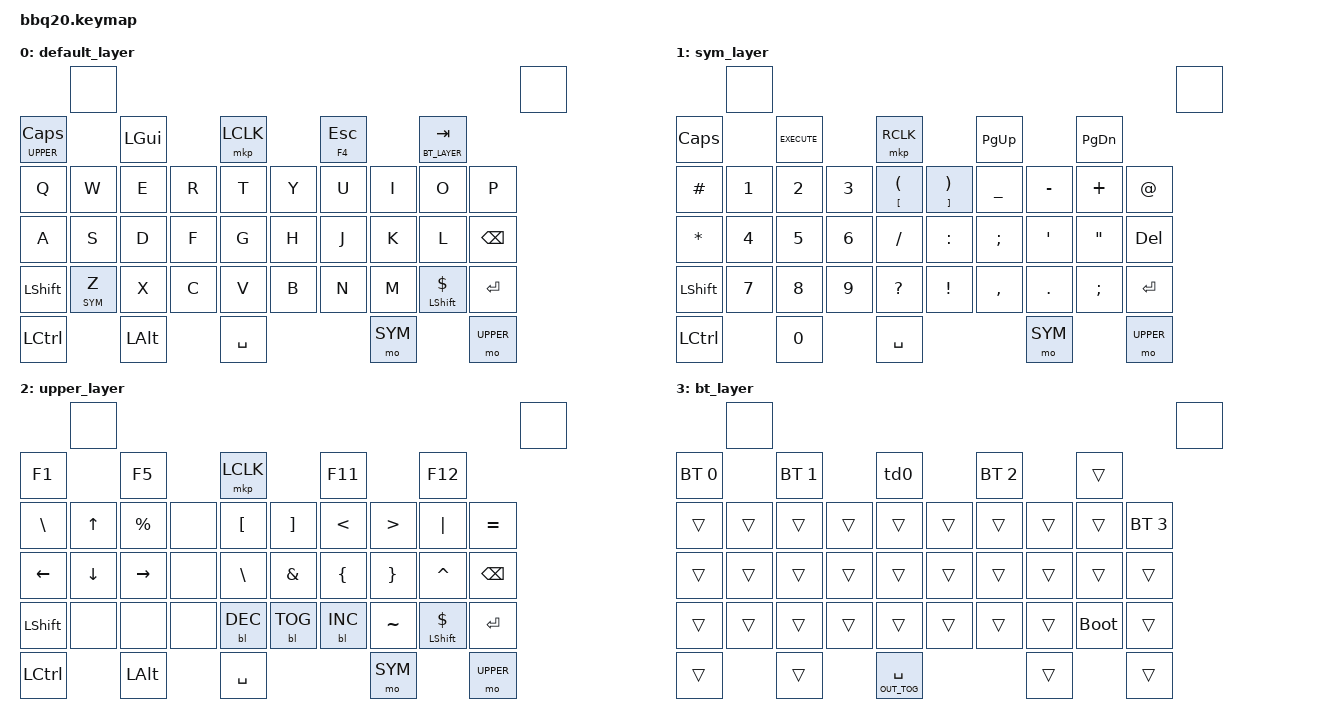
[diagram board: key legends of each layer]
/*
 * ═══════════════════════════════════════════════════════════════════
 *  LEGEND
 * ═══════════════════════════════════════════════════════════════════
 *
 *  COMMENT NOTATION
 *  ─────────────────────────────────────────────────────────────────
 *  tap=X / hold=Y   Dual-function key: quick tap sends X,
 *                   holding past tapping-term sends Y
 *  dbl=X            Double-tap action (tap dance)
 *  (def)            Transparent — falls through to default layer
 *  ---              Unused / no action (&none)
 *  ←                Backspace
 *  SHF              Left Shift
 *
 *  LAYERS
 *  ─────────────────────────────────────────────────────────────────
 *  0  DEFAULT    Base QWERTY layer
 *  1  SYM        Symbols & numbers — hold SYM key or hold Z
 *  2  UPPER      Navigation & brackets — hold UPPER key or hold Call
 *  3  BT_LAYER   Bluetooth controls — hold EndCall
 *
 *  BEHAVIORS
 *  ─────────────────────────────────────────────────────────────────
 *  &lt  L  KEY   Layer-tap: tap=KEY, hold=momentary layer L
 *                (200ms tapping-term, tap-preferred)
 *  &mt  MOD KEY  Mod-tap: tap=KEY, hold=MOD
 *                (200ms tapping-term, hold-preferred)
 *  &mo  L        Momentary layer L while held
 *  back_ht       Custom hold-tap for Back key: tap=ESC, hold=F4
 *                (400ms tapping-term, tap-preferred — matches Vial TD1)
 *  lt_125        Custom layer-tap for Z key: tap=Z, hold=SYM layer
 *                (125ms tapping-term, hold-preferred — matches Vial TD4)
 *  mt_125        Custom mod-tap for $ key: tap=$, hold=LSHIFT
 *                (125ms tapping-term, hold-preferred — matches Vial TD3)
 *  td0           Tap dance on trackpad: tap=left click, dbl=BT clear
 *  out_tap       Hold-tap on space: tap=SPACE, hold=toggle USB/BLE
 * ═══════════════════════════════════════════════════════════════════
 */

#include <behaviors.dtsi>
#include <dt-bindings/zmk/keys.h>
#include <dt-bindings/zmk/bt.h>
#include <dt-bindings/zmk/outputs.h>
#include <dt-bindings/zmk/mouse.h>
#include <dt-bindings/zmk/backlight.h>

#define SYM      1
#define UPPER    2
#define BT_LAYER 3

/ {
    behaviors {
        // Trackpad: single tap = left click, double tap = clear BT pairing
        td0: tap_dance_0 {
            compatible = "zmk,behavior-tap-dance";
            #binding-cells = <0>;
            tapping-term-ms = <400>;
            bindings = <&mkp LCLK>, <&bt BT_CLR>;
        };
        // Back key: tap = ESC, hold = F4.
        // tap-preferred + 400ms matches Vial TD1 — prevents accidental F4
        // when ESC is pressed quickly or while other keys are held.
        back_ht: back_hold_tap {
            compatible = "zmk,behavior-hold-tap";
            #binding-cells = <2>;
            tapping-term-ms = <400>;
            flavor = "tap-preferred";
            bindings = <&kp>, <&kp>;
        };
        // Z key: tap = Z, hold = SYM layer. 125ms matches Vial TD4.
        lt_125: layer_tap_125 {
            compatible = "zmk,behavior-hold-tap";
            #binding-cells = <2>;
            tapping-term-ms = <125>;
            flavor = "hold-preferred";
            bindings = <&mo>, <&kp>;
        };
        // $ key: tap = $, hold = LSHIFT. 125ms matches Vial TD3.
        mt_125: mod_tap_125 {
            compatible = "zmk,behavior-hold-tap";
            #binding-cells = <2>;
            tapping-term-ms = <125>;
            flavor = "hold-preferred";
            bindings = <&kp>, <&kp>;
        };
        // Space key in BT layer: tap = SPACE, hold = toggle USB/BLE output
        out_tap: out_tap {
            compatible = "zmk,behavior-hold-tap";
            #binding-cells = <2>;
            tapping-term-ms = <500>;
            bindings = <&out &kp>;
        };
    };

    keymap {
        compatible = "zmk,keymap";

        default_layer {
            bindings = <
// ┌─────────────┐                                                                       ┌─────────────┐
//   Shoulder L                                                                             Shoulder R
//    (unused)                                                                              (unused)
// └─────────────┘                                                                       └─────────────┘
// ┌────────────────┐  ┌──────────┐  ┌──────────┐  ┌──────────────┐  ┌────────────────────┐
//  tap=CapsLock        BB key      Left click     tap=ESC             tap=TAB
//  hold=UPPER                      (trackpad)     hold=F4             hold=BT layer
// └────────────────┘  └──────────┘  └──────────┘  └──────────────┘  └────────────────────┘
// ┌──────┬──────┬──────┬──────┬──────┬──────┬──────┬──────┬──────┬──────┐
//    Q      W      E      R      T      Y      U      I      O      P
// ├──────┼──────┼──────┼──────┼──────┼──────┼──────┼──────┼──────┼──────┤
//    A      S      D      F      G      H      J      K      L      ←
// ├──────┼──────┼──────┼──────┼──────┼──────┼──────┼──────┼──────┼──────┤
//   SHF  tap=Z    X      C      V      B      N      M    tap=$    RET
//        hold=SYM                                          hold=SHF
// └──────┴──────┴──────┴──────┴──────┴──────┴──────┴──────┴──────┴──────┘
//      ┌──────────┐  ┌──────────┐  ┌──────────────┐  ┌──────┐  ┌──────┐
//        CTRL          ALT             SPACE           SYM     UPPER
//      └──────────┘  └──────────┘  └──────────────┘  └──────┘  └──────┘

              &none                                                                                     &none
    &lt UPPER CLCK    &kp LGUI          &mkp LCLK            &back_ht F4 ESC     &lt BT_LAYER TAB
    &kp Q    &kp W    &kp E    &kp R    &kp T    &kp Y    &kp U    &kp I    &kp O    &kp P
    &kp A    &kp S    &kp D    &kp F    &kp G    &kp H    &kp J    &kp K    &kp L    &kp BSPC
    &kp LSHFT    &lt_125 SYM Z    &kp X    &kp C    &kp V    &kp B    &kp N    &kp M    &mt_125 LSHFT DLLR    &kp ENTER
    &kp LCTRL        &kp LALT              &kp SPACE              &mo SYM           &mo UPPER
            >;
        };

        sym_layer {
            bindings = <
// ┌─────────────┐                                                                       ┌─────────────┐
//   Shoulder L                                                                             Shoulder R
//    (unused)                                                                              (unused)
// └─────────────┘                                                                       └─────────────┘
// ┌──────────┐  ┌──────────┐  ┌──────────┐  ┌──────────┐  ┌──────────┐
//   CapsLock    K_EXECUTE    Right click     Page Up        Page Down
//                            (trackpad)
// └──────────┘  └──────────┘  └──────────┘  └──────────┘  └──────────┘
// ┌──────┬──────┬──────┬──────┬──────┬──────┬──────┬──────┬──────┬──────┐
//    #      1      2      3   tap=(   tap=)    _      -      +      @
//                             hold=[  hold=]
// ├──────┼──────┼──────┼──────┼──────┼──────┼──────┼──────┼──────┼──────┤
//    *      4      5      6      /      :      ;      '      "     DEL
// ├──────┼──────┼──────┼──────┼──────┼──────┼──────┼──────┼──────┼──────┤
//   SHF    7      8      9      ?      !      ,      .      ;      RET
// └──────┴──────┴──────┴──────┴──────┴──────┴──────┴──────┴──────┴──────┘
//      ┌──────────┐  ┌──────────┐  ┌──────────────┐  ┌──────┐  ┌──────┐
//        CTRL          0               SPACE           SYM     UPPER
//      └──────────┘  └──────────┘  └──────────────┘  └──────┘  └──────┘

              &none                                                                                     &none
    &kp CLCK          &kp K_EXECUTE     &mkp RCLK            &kp PG_UP           &kp PG_DN
    &kp HASH    &kp N1    &kp N2    &kp N3    &mt LBKT LPAR    &mt RBKT RPAR    &kp UNDER    &kp MINUS    &kp PLUS    &kp AT
    &kp STAR    &kp N4    &kp N5    &kp N6    &kp SLASH        &kp COLON        &kp SEMI     &kp APOS     &kp DQT     &kp DEL
    &kp LSHFT    &kp N7    &kp N8    &kp N9    &kp QMARK    &kp EXCL    &kp COMMA    &kp DOT    &kp SEMI    &kp ENTER
    &kp LCTRL        &kp N0                &kp SPACE              &mo SYM           &mo UPPER
            >;
        };

        upper_layer {
            bindings = <
// ┌─────────────┐                                                                       ┌─────────────┐
//   Shoulder L                                                                             Shoulder R
//    (unused)                                                                              (unused)
// └─────────────┘                                                                       └─────────────┘
// ┌──────────┐  ┌──────────┐  ┌──────────┐  ┌──────────┐  ┌──────────┐
//     F1           F5         Left click        F11            F12
//                             (trackpad)
// └──────────┘  └──────────┘  └──────────┘  └──────────┘  └──────────┘
// ┌──────┬──────┬──────┬──────┬──────┬──────┬──────┬──────┬──────┬──────┐
//    \      ↑      %    ---    [      ]      <      >      |      =
// ├──────┼──────┼──────┼──────┼──────┼──────┼──────┼──────┼──────┼──────┤
//    ←      ↓      →    ---    \      &      {      }      ^      ←
// ├──────┼──────┼──────┼──────┼──────┼──────┼──────┼──────┼──────┼──────┤
//   SHF   ---    ---    ---   BL-   BL_TOG  BL+     ~    tap=$    RET
//                                                          hold=SHF
// └──────┴──────┴──────┴──────┴──────┴──────┴──────┴──────┴──────┴──────┘
//      ┌──────────┐  ┌──────────┐  ┌──────────────┐  ┌──────┐  ┌──────┐
//        CTRL          ALT             SPACE           SYM     UPPER
//      └──────────┘  └──────────┘  └──────────────┘  └──────┘  └──────┘

              &none                                                                                     &none
    &kp F1            &kp F5            &mkp LCLK            &kp F11             &kp F12
    &kp BSLH    &kp UP      &kp PRCNT    &none    &kp LBKT    &kp RBKT    &kp LT    &kp GT    &kp PIPE    &kp EQUAL
    &kp LEFT    &kp DOWN    &kp RIGHT    &none    &kp BSLH    &kp AMPS    &kp LBRC  &kp RBRC  &kp CARET   &kp BSPC
    &kp LSHFT    &none    &none    &none    &bl BL_DEC    &bl BL_TOG    &bl BL_INC    &kp TILDE    &mt_125 LSHFT DLLR    &kp ENTER
    &kp LCTRL        &kp LALT              &kp SPACE              &mo SYM           &mo UPPER
            >;
        };

        bt_layer {
            bindings = <
// ┌─────────────┐                                                                       ┌─────────────┐
//   Shoulder L                                                                             Shoulder R
//    (unused)                                                                              (unused)
// └─────────────┘                                                                       └─────────────┘
// ┌──────────┐  ┌──────────┐  ┌──────────┐  ┌──────────┐  ┌──────────┐
//   BT dev 1     BT dev 2    tap=L click     BT dev 3     hold EndCall
//                            dbl=BT clear                  to stay here
// └──────────┘  └──────────┘  └──────────┘  └──────────┘  └──────────┘
// ┌──────┬──────┬──────┬──────┬──────┬──────┬──────┬──────┬──────┬──────┐
//  (def)  (def)  (def)  (def)  (def)  (def)  (def)  (def)  (def)  BT dev 4
// ├──────┼──────┼──────┼──────┼──────┼──────┼──────┼──────┼──────┼──────┤
//  (def)  (def)  (def)  (def)  (def)  (def)  (def)  (def)  (def)  (def)
// ├──────┼──────┼──────┼──────┼──────┼──────┼──────┼──────┼──────┼──────┤
//  (def)  (def)  (def)  (def)  (def)  (def)  (def)  (def)  boot   (def)
// └──────┴──────┴──────┴──────┴──────┴──────┴──────┴──────┴──────┴──────┘
//      ┌──────────┐  ┌──────────┐  ┌──────────────┐  ┌──────┐  ┌──────┐
//        (def)         (def)       hold=USB/BLE tog    (def)     (def)
//      └──────────┘  └──────────┘  └──────────────┘  └──────┘  └──────┘

              &none                                                                                     &none
    &bt BT_SEL 0      &bt BT_SEL 1      &td0                 &bt BT_SEL 2        &trans
    &trans    &trans    &trans    &trans    &trans    &trans    &trans    &trans    &trans    &bt BT_SEL 3
    &trans    &trans    &trans    &trans    &trans    &trans    &trans    &trans    &trans    &trans
    &trans    &trans    &trans    &trans    &trans    &trans    &trans    &trans    &bootloader    &trans
    &trans           &trans              &out_tap OUT_TOG SPACE          &trans            &trans
            >;
        };
    };
};
